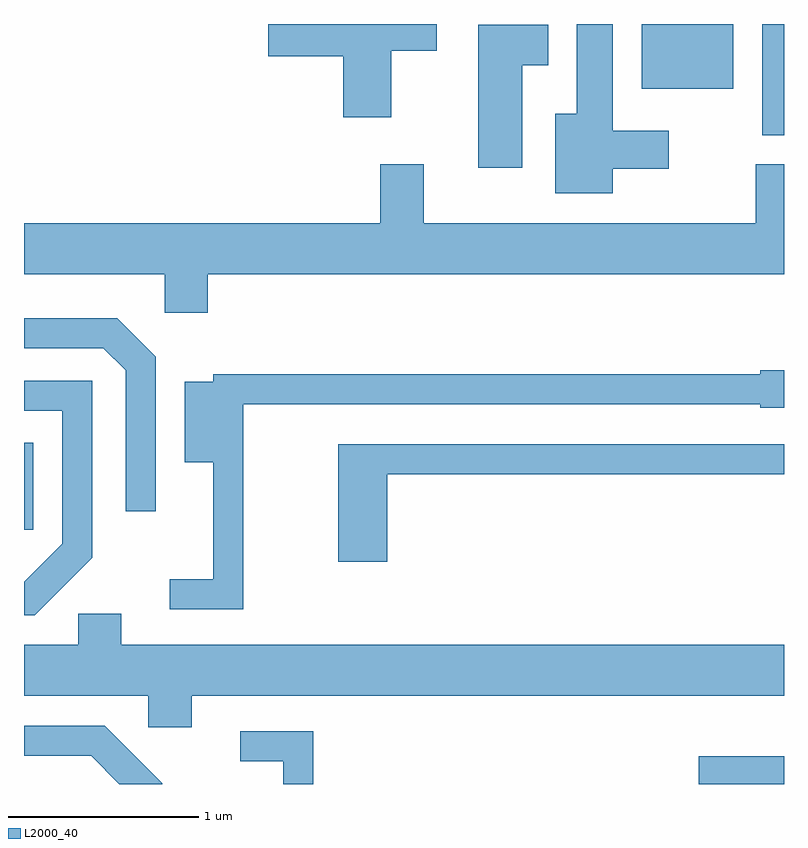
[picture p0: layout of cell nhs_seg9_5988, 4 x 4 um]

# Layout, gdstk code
import gdstk
lib = gdstk.Library(unit=1e-6, precision=1e-09)
def R(c, l, rs):  # rectangles x0, y0, x1, y1
    for r in rs: c.add(gdstk.rectangle(r[:2], r[2:], *l))
def P(c, l, *ps):  # polygons
    for p in ps: c.add(gdstk.Polygon(p, *l))
L2000_40 = (2000, 40)

nhs_seg9_5988 = lib.new_cell('nhs_seg9_5988')
R(nhs_seg9_5988, L2000_40, [(365.163,2022.432,365.611,2022.579), (361.611,2023.771,361.659,2024.229), (365.496,2025.846,365.611,2026.432), (364.861,2026.091,365.344,2026.432)])
P(nhs_seg9_5988, L2000_40, [(363.544,2026.291),(363.784,2026.291),(363.784,2026.432),(362.896,2026.432),(362.896,2026.261),(363.291,2026.261),(363.291,2025.941),(363.544,2025.941)],
  [(364.709,2025.671),(365.004,2025.671),(365.004,2025.869),(364.709,2025.869),(364.709,2026.432),(364.521,2026.432),(364.521,2025.959),(364.406,2025.959),(364.406,2025.541),(364.709,2025.541)],
  [(364.234,2026.216),(364.369,2026.216),(364.369,2026.429),(364.001,2026.429),(364.001,2025.676),(364.234,2025.676)],
  [(362.579,2025.116),(365.611,2025.116),(365.611,2025.694),(365.461,2025.694),(365.461,2025.384),(363.714,2025.384),(363.714,2025.694),(363.486,2025.694),(363.486,2025.384),(361.611,2025.384),(361.611,2025.116),(362.351,2025.116),(362.351,2024.911),(362.579,2024.911)],
  [(362.304,2024.682),(362.102,2024.884),(361.611,2024.884),(361.611,2024.726),(362.029,2024.726),(362.146,2024.609),(362.146,2023.868),(362.304,2023.868)],
  [(362.764,2024.431),(365.486,2024.431),(365.486,2024.411),(365.611,2024.411),(365.611,2024.609),(365.486,2024.609),(365.486,2024.589),(362.606,2024.589),(362.606,2024.549),(362.456,2024.549),(362.456,2024.126),(362.606,2024.126),(362.606,2023.509),(362.378,2023.509),(362.378,2023.351),(362.764,2023.351)],
  [(361.969,2023.624),(361.969,2024.554),(361.611,2024.554),(361.611,2024.396),(361.811,2024.396),(361.811,2023.697),(361.611,2023.496),(361.611,2023.321),(361.667,2023.321)],
  [(363.524,2024.061),(365.611,2024.061),(365.611,2024.219),(363.266,2024.219),(363.266,2023.601),(363.524,2023.601)],
  [(362.494,2022.896),(365.611,2022.896),(365.611,2023.164),(362.124,2023.164),(362.124,2023.329),(361.896,2023.329),(361.896,2023.164),(361.611,2023.164),(361.611,2022.896),(362.266,2022.896),(362.266,2022.731),(362.494,2022.731)],
  [(362.339,2022.437),(362.037,2022.739),(361.611,2022.739),(361.611,2022.581),(361.964,2022.581),(362.113,2022.432),(362.339,2022.432)],
  [(363.134,2022.709),(362.748,2022.709),(362.748,2022.551),(362.976,2022.551),(362.976,2022.432),(363.134,2022.432)])

lib.write_gds('nhs_seg9_5988.gds')
